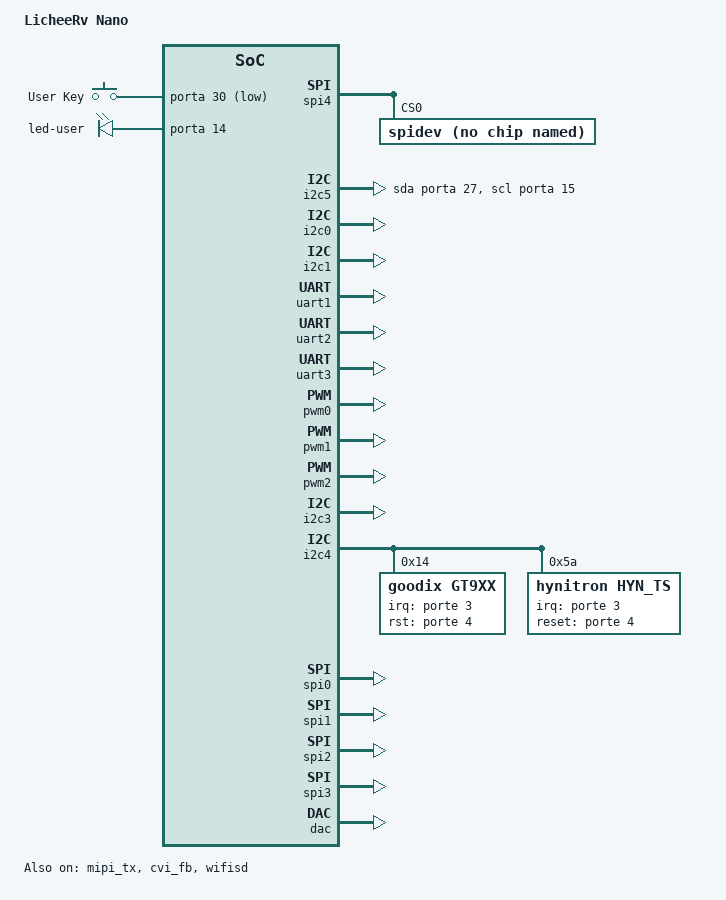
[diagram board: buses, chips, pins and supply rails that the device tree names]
/dts-v1/;
#include "soph_base_riscv.dtsi"
#include "soph_asic_qfn.dtsi"
#include "soph_asic_sd.dtsi"
#include "soph_default_memmap.dtsi"

#include <dt-bindings/input/linux-event-codes.h>
#include <dt-bindings/gpio/gpio.h>

&i2c0 {
        status = "okay";
        /delete-property/ scl-pinmux;
        /delete-property/ sda-pinmux;
        /delete-property/ scl-gpios;
        /delete-property/ sda-gpios;
};

&i2c1 {
        status = "okay";
        /delete-property/ scl-pinmux;
        /delete-property/ sda-pinmux;
        /delete-property/ scl-gpios;
        /delete-property/ sda-gpios;
};

&sd {
        min-frequency = <400000>; // 400Khz
        //max-frequency = <50000000>; // 50Mhz
        max-frequency = <25000000>; // 25Mhz
        //max-frequency = <10000000>; // 10Mhz
        //max-frequency = <5000000>; // 5Mhz
};

&cvi_vo {
#ifndef __UBOOT__
	/delete-property/ reset-gpio;
	/delete-property/ pwm-gpio;
#else
	// for uboot
        reset-gpio = <&porte 0 1>;
        pwm-gpio = <&porte 2 1>;
#endif
        /delete-property/ power-ct-gpio;

};

&mipi_tx {
#ifndef __UBOOT__
	// for linux kernel
        reset-gpio = <&porte 0 1>;
        pwm-gpio = <&porte 2 1>;
#else
        /delete-property/ reset-gpio;
        /delete-property/ pwm-gpio;
#endif
        /delete-property/ power-ct-gpio;
        status = "okay";
};

&uart0 {
	clocks = <&clk CV181X_CLK_UART0>;
	/delete-property/ clock-frequency;
};

&uart1 {
        clocks = <&clk CV181X_CLK_UART1>;
        /delete-property/ clock-frequency;
        status = "okay";
};

&uart2 {
        clocks = <&clk CV181X_CLK_UART2>;
        /delete-property/ clock-frequency;
        status = "okay";
};

&uart3 {
        clocks = <&clk CV181X_CLK_UART3>;
        /delete-property/ clock-frequency;
	status = "okay";
};

&pwm0 {
        status = "okay";
};

&pwm1 {
      status = "okay";
};

&pwm2 {
      status = "okay";
};

&i2c2 {
        status = "disabled";
        /delete-property/ scl-pinmux;
        /delete-property/ sda-pinmux;
        /delete-property/ scl-gpios;
        /delete-property/ sda-gpios;
};

&i2c3 {
        status = "okay";
        /delete-property/ scl-pinmux;
        /delete-property/ sda-pinmux;
        /delete-property/ scl-gpios;
        /delete-property/ sda-gpios;
};

&i2c4 {
        status = "okay";
        gt9xx: gt9xx@14 {
                compatible = "goodix,gt9xx";
                reg = <0x14>;
                goodix,irq-gpio = <&porte 3 0>;
                goodix,rst-gpio = <&porte 4 0>;
                status = "okay";
        };
        hynitron: hynitron@5a {
                compatible = "hynitron,hyn_ts", "hyn,7xx";
                reg = <0x5a>;
                irq-gpio = <&porte 3 0>;
                hynitron,irq-gpio = <&porte 3 0>;
                reset-gpio = <&porte 4 0>;
                hynitron,reset-gpio = <&porte 4 0>;
                max-touch-number = <5>;
                hynitron,max-touch-number = <5>;
                display-coords = <0 0 480 640>;
                hynitron,display-coords = <368 552>;
                pos-swap = <0>;
                posx-reverse = <1>;
                posy-reverse = <1>;
                status = "okay";
        };
};

&spi0 {
	status = "okay";
};

&spi1 {
	status = "okay";
};

&spi2 {
	status = "okay";

        // /delete-node/ spidev@0;
        st7789: st7789@0{
		compatible = "sitronix,st7789";
		reg = <0>;
		status = "disabled";
		spi-max-frequency = <80000000>;
		spi-cpol;
		spi-cpha;
		rotate = <0>;
		fps = <60>;
		rgb;
		buswidth = <8>;
		dc = <&porte 20 GPIO_ACTIVE_HIGH>;
		reset = <&porta 14 GPIO_ACTIVE_LOW>;
		debug = <0>;
	};
};

&spi3 {
	status = "okay";
};

&dac {
        status = "okay";
        /delete-property/ mute-gpio-r;
};

&fb_reserved {
        status = "okay";
};

&cvi_fb {
        status = "okay";
};

&mipi_rx {
        snsr-reset = <&porte 1 GPIO_ACTIVE_LOW>;
};

/ {
        model = "LicheeRv Nano";

	spi4: spi4@gpio {
		compatible = "spi-gpio";
		sck-gpio = <&porta 22 0>;
		miso-gpio = <&porta 23 0>;
		mosi-gpio = <&porta 25 0>;
		cs-gpio = <&porta 24 GPIO_ACTIVE_LOW>;
		num-chipselects = <1>;
		status = "okay";

		spidev@0 {
			compatible = "spidev";
			reg = <0>;
		};
	};

	i2c5: i2c5@gpio {
		compatible = "i2c-gpio";
                scl-gpios = <&porta 15 (GPIO_ACTIVE_HIGH | GPIO_OPEN_DRAIN)>;
                sda-gpios = <&porta 27 (GPIO_ACTIVE_HIGH | GPIO_OPEN_DRAIN)>;
                i2c-gpio,delay-us = <5>;
                status = "okay";
	};

        gpio-keys {
                compatible = "gpio-keys";
                key-user {
                        label = "User Key";
                        linux,code = <KEY_DISPLAYTOGGLE>;
                        debounce-interval = <1>;
                        gpios = <&porta 30 1>;
                };
        };

	leds {
		compatible = "gpio-leds";

		led-user {
			gpios = <&porta 14 GPIO_ACTIVE_HIGH>;
			linux,default-trigger = "activity";
		};
	};

	// buggy pwm driver, not working, please use userspace pwm api
	/*
	lcd0_backlight: pwm-backlight@0 {
		compatible = "pwm-backlight";
		pwm-names = "backlight";
		pwms = <&pwm2 2 50000000>; // 20Khz
		brightness-levels = <0 2 4 8 16 32 64 128 255>;
		default-brightness-level = <4>;
	};
	*/

        wifisd:wifi-sd@4320000 {
                compatible = "cvitek,cv181x-sdio";
                bus-width = <4>;
                reg = <0x0 0x4320000 0x0 0x1000>;
                reg_names = "core_mem";
                src-frequency = <375000000>;
                min-frequency = <400000>; // 400Khz
                //max-frequency = <50000000>; // 50Mhz
                //max-frequency = <45000000>; // 45Mhz
                //max-frequency = <40000000>; // 40Mhz
                //max-frequency = <35000000>; // 35Mhz
                //max-frequency = <30000000>; // 30Mhz
                max-frequency = <25000000>; // 25Mhz
                //max-frequency = <20000000>; // 20Mhz
                //max-frequency = <15000000>; // 15Mhz
                //max-frequency = <10000000>; // 10Mhz
                //max-frequency = <5000000>; // 5Mhz
                64_addressing;
                reset_tx_rx_phy;
                non-removable;
                pll_index = <0x7>;
                pll_reg = <0x300207C>;
                no-mmc;
                no-sd;
                status = "okay";
                interrupts = <38 IRQ_TYPE_LEVEL_HIGH>;
                interrupt-parent = <&plic0>;
        };
};
